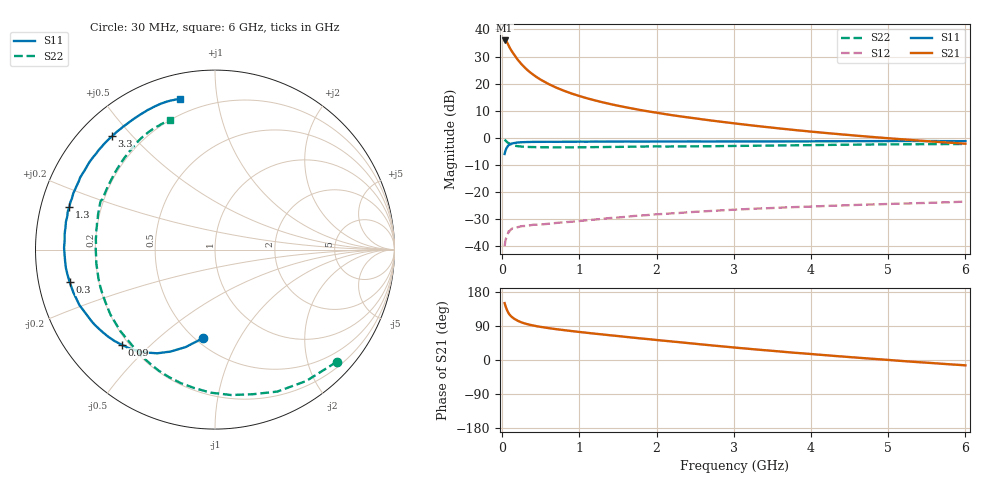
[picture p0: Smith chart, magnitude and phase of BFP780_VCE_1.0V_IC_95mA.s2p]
! Infineon Technologies  Discrete & RF Semiconductors
! BFP780
! VCE =  1.0 V,  IC =  95 mA
! Common Emitter S-Parameters:  Jul 2015
# GHz  S  MA  R  50
!  f  S11  S21  S12  S22
! GHz  MAG  ANG  MAG  ANG  MAG  ANG  MAG  ANG
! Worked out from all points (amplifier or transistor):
!   75 points, 30 MHz to 6 GHz, reference 50 ohm
!   highest |S21| = 35.9 dB at 30 MHz (marker M1)
!   |S21| within 3 dB of that: start of sweep to 102.4 MHz
!   unconditionally stable (mu >= 1): 1.646 GHz to end of sweep
!   at 150 MHz: K = 0.15, MSG = 32.2 dB, |S12| = -33.6 dB
!   at 2.3 GHz: K = 1.15, MAG = 15.5 dB, |S12| = -27.8 dB
!   at 6 GHz: K = 1.56, MAG = 6.3 dB, |S12| = -23.6 dB
!   S11 on the Smith chart (normalised r, x): 30 MHz: 0.54, -0.71; 90 MHz: 0.17, -0.41; 300 MHz: 0.09, -0.11; 1.3 GHz: 0.09, +0.14; 3.3 GHz: 0.09, +0.44; 6 GHz: 0.12, +0.79
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0.03  0.4991 -97.9  62.65 150.1  0.0099 68.6  0.9225 -42.7
0.04  0.5674 -106.8  62.04 143.3  0.0123 57.7  0.8913 -55.2
0.05  0.6193 -113.5  60.96 137.4  0.014 46.2  0.8639 -66.3
0.06  0.6612 -119.1  58.29 132.3  0.015 50.0  0.8328 -75.4
0.07  0.6958 -124.6  54.86 127.9  0.016 47.5  0.8151 -83.7
0.09  0.7427 -134.4  47.83 120.9  0.0184 38.5  0.7805 -98.3
0.12  0.7765 -143.6  40.36 114.2  0.0205 32.9  0.7441 -114.8
0.15  0.7951 -149.9  34.8 109.5  0.0208 29.0  0.7177 -126.2
0.2  0.816 -157.7  27.58 103.5  0.0222 23.5  0.6959 -139.2
0.25  0.8246 -163.2  22.76 99.2  0.0232 21.9  0.6862 -148.0
0.3  0.8298 -167.4  19.2 95.9  0.0234 20.3  0.6772 -154.4
0.45  0.8375 -175.4  13.02 89.0  0.0246 19.8  0.6688 -166.2
0.6  0.841 179.3  9.815 84.1  0.0257 20.8  0.6655 -173.4
0.8  0.8424 173.9  7.36 78.8  0.0274 22.3  0.6647 179.9
1.1  0.8436 167.4  5.338 71.7  0.0298 24.4  0.6668 172.5
1.3  0.8457 163.7  4.509 67.4  0.0317 25.1  0.6712 168.6
2.1  0.8511 150.4  2.743 50.8  0.039 24.9  0.6867 155.7
3.1  0.8536 135.1  1.774 31.2  0.0475 21.0  0.7063 140.6
3.3  0.8531 132.2  1.645 27.6  0.049 19.9  0.7113 138.0
4.1  0.8577 121.5  1.258 14.1  0.0541 15.5  0.7318 128.4
5.1  0.8672 110.7  0.953 -1.4  0.0602 9.7  0.7538 118.2
6  0.8629 102.9  0.774 -14.1  0.0657 4.3  0.7652 109.1
